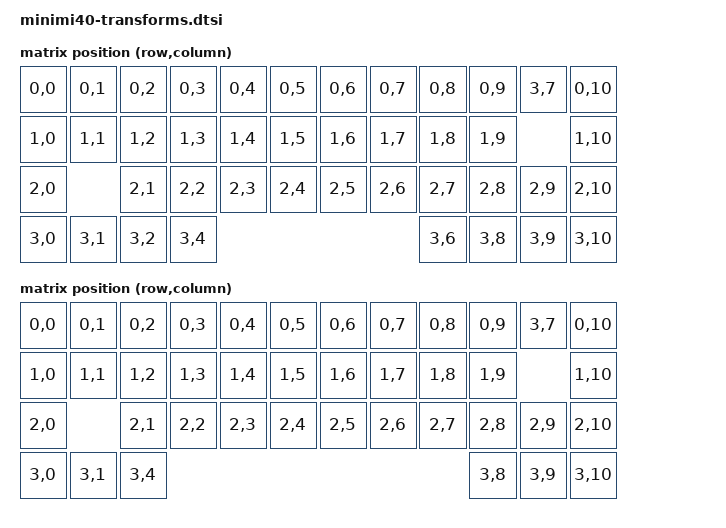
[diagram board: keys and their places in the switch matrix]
/*
 * Copyright (c) 2024 CannonKeys LLC
 *
 * SPDX-License-Identifier: MIT
 */
#include <dt-bindings/zmk/matrix_transform.h>

/ {
    split_space_transform: split_space_transform {
        compatible = "zmk,matrix-transform";
        columns = <11>;
        rows = <4>;
        map = <
RC(0,0) RC(0,1) RC(0,2) RC(0,3) RC(0,4) RC(0,5) RC(0,6) RC(0,7) RC(0,8) RC(0,9) RC(3,7) RC(0,10)
RC(1,0) RC(1,1) RC(1,2) RC(1,3) RC(1,4) RC(1,5) RC(1,6) RC(1,7) RC(1,8) RC(1,9)         RC(1,10)
RC(2,0)         RC(2,1) RC(2,2) RC(2,3) RC(2,4) RC(2,5) RC(2,6) RC(2,7) RC(2,8) RC(2,9) RC(2,10) 
RC(3,0)      RC(3,1)      RC(3,2)       RC(3,4)         RC(3,6)         RC(3,8) RC(3,9) RC(3,10)
        >;
    };

    full_space_transform: full_space_transform {
        compatible = "zmk,matrix-transform";
        columns = <11>;
        rows = <4>;
        map = <
RC(0,0) RC(0,1) RC(0,2) RC(0,3) RC(0,4) RC(0,5) RC(0,6) RC(0,7) RC(0,8) RC(0,9) RC(3,7) RC(0,10)
RC(1,0) RC(1,1) RC(1,2) RC(1,3) RC(1,4) RC(1,5) RC(1,6) RC(1,7) RC(1,8) RC(1,9)         RC(1,10)
RC(2,0)         RC(2,1) RC(2,2) RC(2,3) RC(2,4) RC(2,5) RC(2,6) RC(2,7) RC(2,8) RC(2,9) RC(2,10) 
RC(3,0)      RC(3,1)                    RC(3,4)                         RC(3,8) RC(3,9) RC(3,10)
        >;
    };
};
